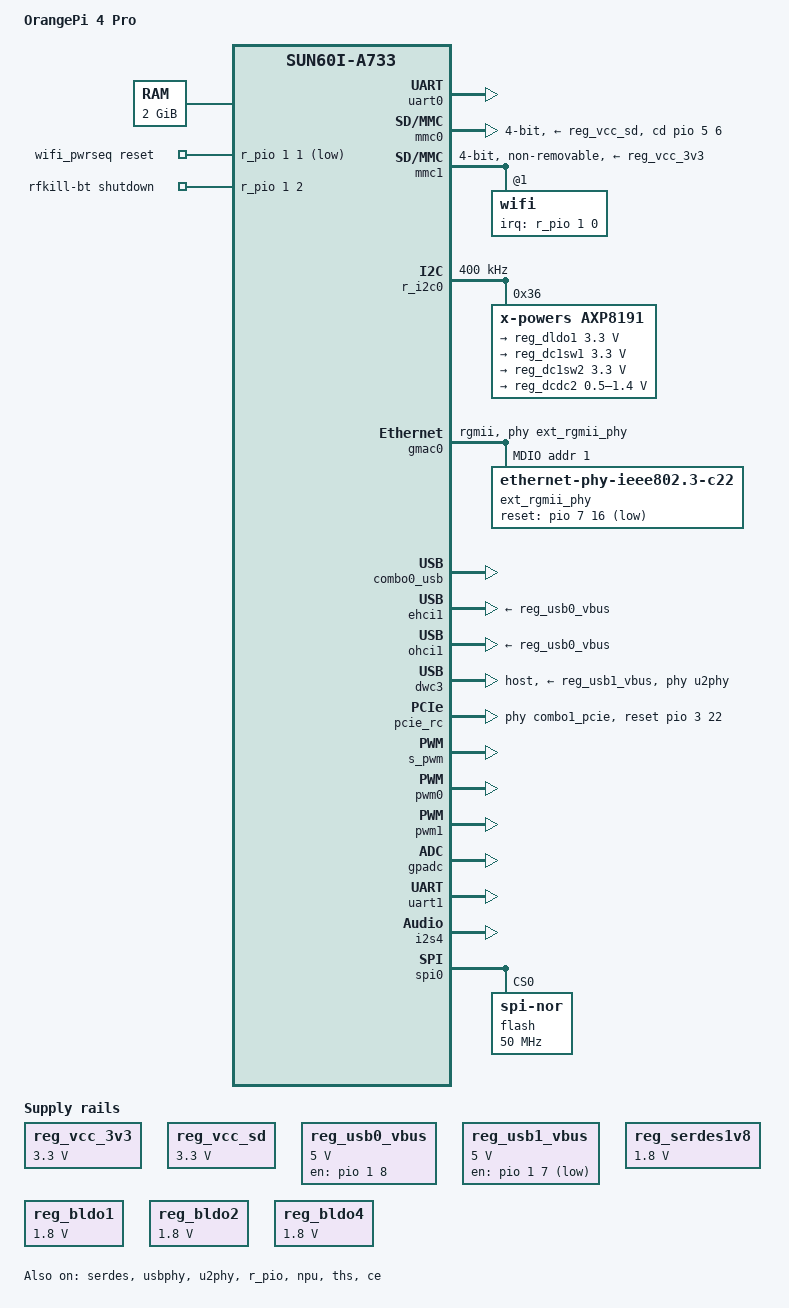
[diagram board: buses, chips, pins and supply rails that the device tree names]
// SPDX-License-Identifier: (GPL-2.0-only OR MIT)
/*
 * Copyright (C) 2026 Alastair D'Silva <alastair@d-silva.org>
 */

/dts-v1/;

#include "sun60i-a733.dtsi"

#include <dt-bindings/gpio/gpio.h>
#include <dt-bindings/input/linux-event-codes.h>

/ {
	model = "OrangePi 4 Pro";
	compatible = "xunlong,orangepi-4-pro", "allwinner,sun60i-a733";

	aliases {
		ethernet0 = &gmac0;
		serial0 = &uart0;
		serial1 = &uart1;
		mmc0 = &mmc0;
		mmc1 = &mmc1;
		mmc2 = &mmc2;
		i2c0 = &r_i2c0;
		i2c7 = &twi7;
	};

	chosen {
		#address-cells = <2>;
		#size-cells = <2>;
		ranges;
		stdout-path = "serial0:115200n8";
		bootargs = "earlycon=uart8250,mmio32,0x02500000";

		framebuffer: framebuffer@ff800000 {
			compatible = "allwinner,simple-framebuffer", "simple-framebuffer";
			reg = <0x0 0xff800000 0x0 0x007e9000>;
			width = <1920>;
			height = <1080>;
			stride = <7680>;
			format = "x8r8g8b8";
			status = "okay";
		};
	};

	reserved-memory {
		#address-cells = <2>;
		#size-cells = <2>;
		ranges;

		framebuffer_rsv: framebuffer@ff800000 {
			reg = <0x0 0xff800000 0x0 0x007e9000>;
			no-map;
		};
	};

	memory@40000000 {
		device_type = "memory";
		reg = <0x0 0x40000000 0x0 0x80000000>;
	};

	reg_vcc_3v3: regulator-vcc-3v3 {
		compatible = "regulator-fixed";
		regulator-name = "vcc-3v3";
		regulator-min-microvolt = <3300000>;
		regulator-max-microvolt = <3300000>;
		regulator-always-on;
		regulator-boot-on;
	};

	reg_vcc_sd: regulator-vcc-sd {
		compatible = "regulator-fixed";
		regulator-name = "vcc-sd";
		regulator-min-microvolt = <3300000>;
		regulator-max-microvolt = <3300000>;
		regulator-always-on;
	};

	reg_usb0_vbus: regulator-usb0-vbus {
		compatible = "regulator-fixed";
		regulator-name = "usb0-vbus";
		regulator-min-microvolt = <5000000>;
		regulator-max-microvolt = <5000000>;
		gpios = <&pio 1 8 GPIO_ACTIVE_HIGH>;
		enable-active-high;
		regulator-always-on;
		regulator-boot-on;
	};

	reg_usb1_vbus: regulator-usb1-vbus {
		compatible = "regulator-fixed";
		regulator-name = "usb1-vbus";
		regulator-min-microvolt = <5000000>;
		regulator-max-microvolt = <5000000>;
		gpios = <&pio 1 7 GPIO_ACTIVE_LOW>;
		enable-active-low;
		regulator-always-on;
		regulator-boot-on;
	};

	reg_serdes1v8: regulator-serdes1v8 {
		compatible = "regulator-fixed";
		regulator-name = "serdes1v8";
		regulator-min-microvolt = <1800000>;
		regulator-max-microvolt = <1800000>;
		regulator-always-on;
		regulator-boot-on;
	};

	reg_bldo1: regulator-bldo1 {
		compatible = "regulator-fixed";
		regulator-name = "bldo1";
		regulator-min-microvolt = <1800000>;
		regulator-max-microvolt = <1800000>;
		regulator-always-on;
		regulator-boot-on;
	};

	reg_bldo2: regulator-bldo2 {
		compatible = "regulator-fixed";
		regulator-name = "bldo2";
		regulator-min-microvolt = <1800000>;
		regulator-max-microvolt = <1800000>;
		regulator-always-on;
		regulator-boot-on;
	};

	reg_bldo4: regulator-bldo4 {
		compatible = "regulator-fixed";
		regulator-name = "bldo4";
		regulator-min-microvolt = <1800000>;
		regulator-max-microvolt = <1800000>;
		regulator-always-on;
		regulator-boot-on;
	};

	wifi_pwrseq: wifi-pwrseq {
		compatible = "mmc-pwrseq-simple";
		clocks = <&osc32k>;
		clock-names = "ext_clock";
		reset-gpios = <&r_pio 1 1 GPIO_ACTIVE_LOW>;
		post-power-on-delay-ms = <200>;
		power-off-delay-us = <500>;
	};

	rfkill_bt: rfkill-bt {
		compatible = "rfkill-gpio";
		label = "rfkill-bt";
		radio-type = "bluetooth";
		shutdown-gpios = <&r_pio 1 2 GPIO_ACTIVE_HIGH>; /* PM2 */
	};

	sound {
		status = "disabled";
		compatible = "simple-audio-card";
		simple-audio-card,name = "OrangePi-Audio";
		simple-audio-card,format = "i2s";
		simple-audio-card,bitclock-master = <&sound_cpu>;
		simple-audio-card,frame-master = <&sound_cpu>;
		simple-audio-card,mclk-fs = <256>;

		sound_cpu: simple-audio-card,cpu {
			sound-dai = <&i2s4>;
		};

		sound_codec: simple-audio-card,codec {
			sound-dai = <&es8388>;
			system-clock-frequency = <12288000>;
		};
	};
};

&uart0 {
	pinctrl-names = "default";
	pinctrl-0 = <&uart0_pb_pins>;
	status = "okay";
};

&mmc0 {
	vmmc-supply = <&reg_vcc_sd>;
	cd-gpios = <&pio 5 6 (GPIO_ACTIVE_LOW | GPIO_PULL_UP)>; /* PF6 */
	cd-inverted;
	bus-width = <4>;
	status = "okay";
};

&mmc1 {
	vmmc-supply = <&reg_vcc_3v3>;
	vqmmc-supply = <&reg_serdes1v8>;
	mmc-pwrseq = <&wifi_pwrseq>;
	bus-width = <4>;
	non-removable;
	keep-power-in-suspend;
	status = "okay";

	wifi@1 {
		reg = <1>;
		interrupt-parent = <&r_pio>;
		interrupts = <1 0 IRQ_TYPE_LEVEL_HIGH>;
		interrupt-names = "host-wake";
	};
};

&mmc2 {
	status = "disabled";
};

&r_i2c0 {
	pinctrl-names = "default";
	pinctrl-0 = <&r_i2c0_pins>;
	clock-frequency = <400000>;
	status = "okay";

	axp8191: pmic@36 {
		compatible = "x-powers,axp8191";
		reg = <0x36>;
		#address-cells = <1>;
		#size-cells = <0>;

		regulators {
			reg_dldo1: dldo1 {
				regulator-name = "vcc-sd";
				regulator-min-microvolt = <3300000>;
				regulator-max-microvolt = <3300000>;
				regulator-always-on;
			};

			reg_dc1sw1: dc1sw1 {
				regulator-name = "vcc-ephy";
				regulator-min-microvolt = <3300000>;
				regulator-max-microvolt = <3300000>;
				regulator-always-on;
			};

			reg_dc1sw2: dc1sw2 {
				regulator-name = "vcc-gmac-io";
				regulator-min-microvolt = <3300000>;
				regulator-max-microvolt = <3300000>;
				regulator-always-on;
			};

			reg_dcdc2: dcdc2 {
				regulator-name = "vdd-cpu";
				regulator-min-microvolt = <500000>;
				regulator-max-microvolt = <1400000>;
				regulator-ramp-delay = <200>;
				regulator-always-on;
				regulator-boot-on;
			};
		};
	};
};

&gmac0 {
	pinctrl-names = "default";
	pinctrl-0 = <&gmac0_rgmii_pins>;
	phy-mode = "rgmii";
	phy-handle = <&ext_rgmii_phy>;
	tx-internal-delay-ps = <1200>;
	rx-internal-delay-ps = <1800>;
	allwinner,tx-delay-ps = <1200>;
	allwinner,rx-delay-ps = <1800>;
	allwinner,rgmii-clk-ext;
	status = "okay";

	mdio: mdio {
		compatible = "snps,dwmac-mdio";
		#address-cells = <1>;
		#size-cells = <0>;

		ext_rgmii_phy: ethernet-phy@1 {
			compatible = "ethernet-phy-ieee802.3-c22";
			reg = <1>;
			reset-gpios = <&pio 7 16 GPIO_ACTIVE_LOW>;
			reset-assert-us = <10000>;
			reset-deassert-us = <150000>;
		};
	};
};


&serdes {
	serdes1v8-supply = <&reg_serdes1v8>;
	assigned-clocks = <&ccu CLK_SERDES_PHY_CFG>;
	assigned-clock-parents = <&ccu CLK_PLL_PERIPH0_600M>;
	assigned-clock-rates = <100000000>;
	udp-disable;
	status = "okay";
};

&combo0_usb {
	status = "okay";
};

&usbphy {
	usb1_vbus-supply = <&reg_usb0_vbus>;
	status = "okay";
};

&ehci0 {
	status = "disabled";
};

&ohci0 {
	status = "disabled";
};

&ehci1 {
	vbus-supply = <&reg_usb0_vbus>;
	status = "okay";
};

&ohci1 {
	vbus-supply = <&reg_usb0_vbus>;
	status = "okay";
};

&dwc3 {
	dr_mode = "host";
	vbus-supply = <&reg_usb1_vbus>;
	phys = <&u2phy>, <&combo0_usb>;
	phy-names = "usb2-phy", "usb3-phy";
	snps,dis-u1-entry-quirk;
	snps,dis-u2-entry-quirk;
	snps,dis_u2_susphy_quirk;
	snps,dis_u3_susphy_quirk;
	snps,dis_enblslpm_quirk;
	status = "okay";
};

&u2phy {
	status = "okay";
};

&pio {
	vcc-pb-supply = <&reg_vcc_3v3>;
	vcc-pg-supply = <&reg_serdes1v8>;
	vcc-pj-supply = <&reg_bldo2>;
	vcc-pk-supply = <&reg_bldo1>;
};

&r_pio {
	vcc-pm-supply = <&reg_serdes1v8>;
	status = "okay";
};

&pcie_rc {
	phys = <&combo1_pcie>;
	phy-names = "pcie-phy";
	power-gpios = <&r_pio 0 3 GPIO_ACTIVE_HIGH>;
	reset-gpios = <&pio 3 22 GPIO_ACTIVE_HIGH>;
	wake-gpios = <&pio 3 21 GPIO_ACTIVE_HIGH>;
	status = "okay";
};

&npu {
	status = "okay";
};

&dma {
	status = "okay";
};

&ths {
	status = "okay";
};

&s_pwm {
	status = "okay";
};

&pwm0 {
	status = "okay";
};

&pwm1 {
	status = "okay";
};

&ce {
	status = "okay";
};

&gpadc {
	status = "okay";
};

&lradc {
	/* LRADC0 is unpopulated on Orange Pi 4 Pro (R90986 NC) */
	status = "disabled";
};

&uart1 {
	pinctrl-names = "default";
	pinctrl-0 = <&uart1_pg_pins>;
	uart-has-rtscts;
	status = "okay";
};

&i2s4 {
	pinctrl-names = "default";
	pinctrl-0 = <&i2s4_pins>;
	assigned-clocks = <&ccu CLK_I2S4>;
	assigned-clock-parents = <&ccu CLK_PLL_AUDIO0_4X>;
	assigned-clock-rates = <12288000>;
	status = "okay";
};

&twi7 {
	clock-frequency = <100000>;
	pinctrl-names = "default";
	pinctrl-0 = <&twi7_pins>;
	status = "disabled";

	es8388: codec@10 {
		compatible = "everest,es8388", "everest,es8328";
		reg = <0x10>;
		AVDD-supply = <&reg_vcc_3v3>;
		DVDD-supply = <&reg_bldo4>;
		HPVDD-supply = <&reg_vcc_3v3>;
		PVDD-supply = <&reg_bldo4>;
		clocks = <&ccu CLK_I2S4>;
		clock-names = "mclk";
		assigned-clocks = <&ccu CLK_I2S4>;
		assigned-clock-parents = <&ccu CLK_PLL_AUDIO0_4X>;
		assigned-clock-rates = <12288000>;
		#sound-dai-cells = <0>;
	};
};

/*
 * Expansion buses on 40-pin header:
 * Fully declared and tested, but disabled by default per policy to preserve GPIOs.
 */
&spi0 {
	pinctrl-names = "default";
	pinctrl-0 = <&spi0_pc_pins>;
	status = "okay";

	flash@0 {
		compatible = "jedec,spi-nor";
		reg = <0>;
		spi-max-frequency = <50000000>;
		status = "okay";
	};
};

&spi1 {
	pinctrl-names = "default";
	pinctrl-0 = <&spi1_ph_pins>;
	status = "disabled";
};

&twi0 {
	pinctrl-names = "default";
	pinctrl-0 = <&twi0_pb_pins>;
	status = "disabled";
};

&twi1 {
	pinctrl-names = "default";
	pinctrl-0 = <&twi1_pb_pins>;
	status = "disabled";
};

&twi2 {
	pinctrl-names = "default";
	pinctrl-0 = <&twi2_pe_pins>;
	status = "disabled";
};

&twi3 {
	pinctrl-names = "default";
	pinctrl-0 = <&twi3_pe_pins>;
	status = "disabled";
};

&uart2 {
	pinctrl-names = "default";
	pinctrl-0 = <&uart2_pb_pins>;
	status = "disabled";
};

&uart5 {
	pinctrl-names = "default";
	pinctrl-0 = <&uart5_pi_pins>;
	status = "disabled";
};
